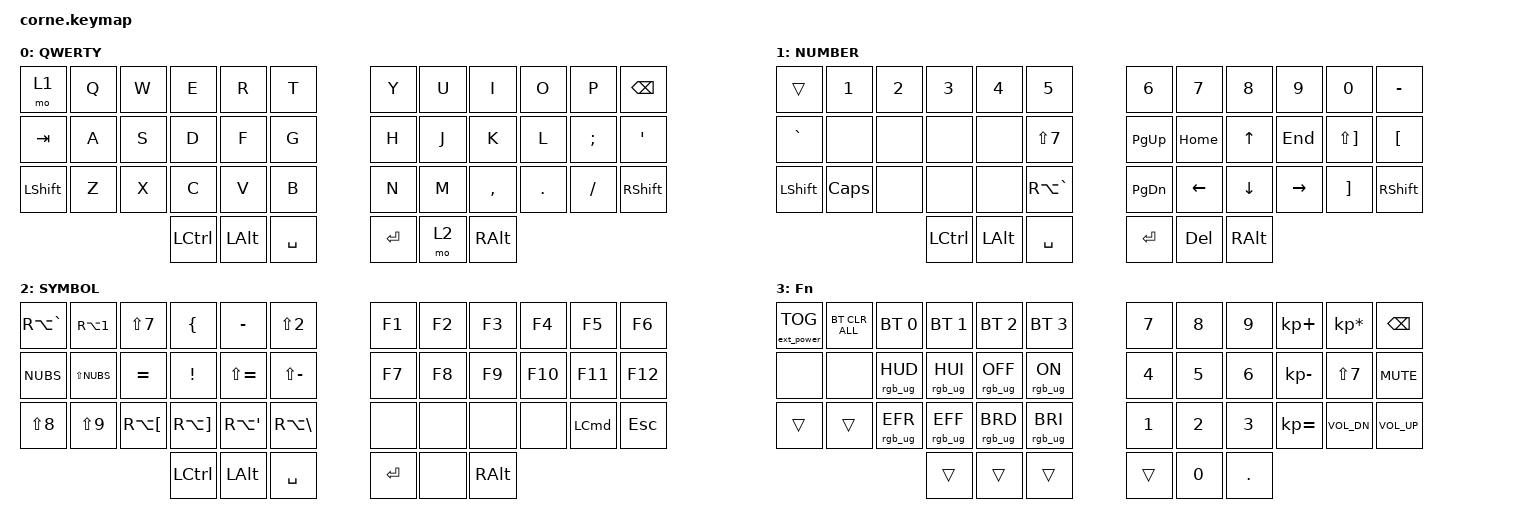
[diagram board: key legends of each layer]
/*
 * Copyright (c) 2020 The ZMK Contributors
 *
 * SPDX-License-Identifier: MIT
 */

#include <behaviors.dtsi>
#include <dt-bindings/zmk/bt.h>
#include <dt-bindings/zmk/ext_power.h>
#include <dt-bindings/zmk/keys.h>
#include <dt-bindings/zmk/rgb.h>

/ {
    chosen {
        zmk,matrix_transform = &default_transform;

        // zmk,matrix_transform = &five_column_transform;
    };
};

/ {
    behaviors {
        td0: td0 {
            compatible = "zmk,behavior-tap-dance";
            label = "TD0";
            #binding-cells = <0>;
            bindings = <&kp LEFT_SHIFT>, <&kp CAPS>;
        };
    };

    combos {
        compatible = "zmk,combos";

        CAPA_NUM {
            bindings = <&mo 3>;
            key-positions = <12 24>;
        };

        CMB_ESC {
            bindings = <&kp ESC>;
            key-positions = <24 35>;
        };

        CMB_GUI {
            bindings = <&kp LEFT_GUI>;
            key-positions = <36 41>;
        };
    };

    keymap {
        compatible = "zmk,keymap";

        default_layer {
            display-name = "QWERTY";

            // --------------------------------------------------------------------------------
            // |  TAB |  Q  |  W  |  E  |  R  |  T  |   |  Y  |  U   |  I  |  O  |  P  | BKSP |
            // | CTRL |  A  |  S  |  D  |  F  |  G  |   |  H  |  J   |  K  |  L  |  ;  |  '   | 
            // | SHFT |  Z  |  X  |  C  |  V  |  B  |   |  N  |  M   |  ,  |  .  |  /  | ESC  |
            //                    | GUI | LWR | SPC |   | ENT | RSE  | ALT |

            bindings = <
&mo 1           &kp Q  &kp W  &kp E      &kp R         &kp T        &kp Y       &kp U  &kp I      &kp O    &kp P      &kp BSPC
&kp TAB         &kp A  &kp S  &kp D      &kp F         &kp G        &kp H       &kp J  &kp K      &kp L    &kp SEMI   &kp SQT
&kp LEFT_SHIFT  &kp Z  &kp X  &kp C      &kp V         &kp B        &kp N       &kp M  &kp COMMA  &kp DOT  &kp SLASH  &kp RIGHT_SHIFT
                              &kp LCTRL  &kp LEFT_ALT  &kp SPACE    &kp RETURN  &mo 2  &kp RALT
            >;
        };

        lower_layer {
            display-name = "NUMBER";

            // -----------------------------------------------------------------------------------------
            // |  TAB |  1  |  2  |  3  |  4  |  5  |   |  6  |  7  |  8  |  9  |  0  | BKSP |
            // | BTCLR| BT1 | BT2 | BT3 | BT4 | BT5 |   | LFT | DWN |  UP | RGT |     |      |
            // | SHFT |     |     |     |     |     |   |     |     |     |     |     |      |
            //                    | GUI |     | SPC |   | ENT |     | ALT |

            bindings = <
&trans          &kp N1        &kp N2  &kp N3     &kp N4        &kp N5           &kp N6         &kp N7          &kp N8    &kp N9     &kp N0        &kp MINUS
&kp GRAVE       &none         &none   &none      &none         &kp LS(N7)       &kp PAGE_UP    &kp HOME        &kp UP    &kp END    &kp LS(RBKT)  &kp LBKT
&kp LEFT_SHIFT  &kp CAPSLOCK  &none   &none      &none         &kp RA(GRAVE)    &kp PAGE_DOWN  &kp LEFT_ARROW  &kp DOWN  &kp RIGHT  &kp RBKT      &kp RIGHT_SHIFT
                                      &kp LCTRL  &kp LEFT_ALT  &kp SPACE        &kp RETURN     &kp DEL         &kp RALT
            >;
        };

        raise_layer {
            display-name = "SYMBOL";

            // -----------------------------------------------------------------------------------------
            // |  TAB |  !  |  @  |  #  |  $  |  %  |   |  ^  |  &  |  *  |  (  |  )  | BKSP |
            // | CTRL |     |     |     |     |     |   |  -  |  =  |  [  |  ]  |  \  |  `   |
            // | SHFT |     |     |     |     |     |   |  _  |  +  |  {  |  }  | "|" |  ~   |
            //                    | GUI |     | SPC |   | ENT |     | ALT |

            bindings = <
&kp RA(GRAVE)  &kp RA(NUMBER_1)  &kp LS(NUMBER_7)  &kp LEFT_BRACE   &kp MINUS           &kp LS(NUMBER_2)    &kp F1   &kp F2  &kp F3         &kp F4   &kp F5    &kp F6
&kp NUBS       &kp LS(NUBS)      &kp EQUAL         &kp EXCLAMATION  &kp LS(EQUAL)       &kp LS(MINUS)       &kp F7   &kp F8  &kp F9         &kp F10  &kp F11   &kp F12
&kp LS(N8)     &kp LS(N9)        &kp RA(LBKT)      &kp RA(RBKT)     &kp RA(APOSTROPHE)  &kp RA(BSLH)        &none    &none   &none          &none    &kp LCMD  &kp ESC
                                                   &kp LCTRL        &kp LEFT_ALT        &kp SPACE           &kp RET  &none   &kp RIGHT_ALT
            >;
        };

        layer_3 {
            display-name = "Fn";
            bindings = <
&ext_power EP_TOG  &bt BT_CLR_ALL  &bt BT_SEL 0     &bt BT_SEL 1     &bt BT_SEL 2     &bt BT_SEL 3       &kp N7        &kp N8        &kp N9        &kp KP_PLUS   &kp KP_ASTERISK  &kp BACKSPACE
&none              &none           &rgb_ug RGB_HUD  &rgb_ug RGB_HUI  &rgb_ug RGB_OFF  &rgb_ug RGB_ON     &kp NUMBER_4  &kp N5        &kp NUMBER_6  &kp KP_MINUS  &kp LS(N7)       &kp K_MUTE
&trans             &trans          &rgb_ug RGB_EFR  &rgb_ug RGB_EFF  &rgb_ug RGB_BRD  &rgb_ug RGB_BRI    &kp NUMBER_1  &kp NUMBER_2  &kp NUMBER_3  &kp KP_EQUAL  &kp C_VOL_DN     &kp C_VOLUME_UP
                                                    &trans           &trans           &trans             &trans        &kp N0        &kp DOT
            >;
        };
    };
};
